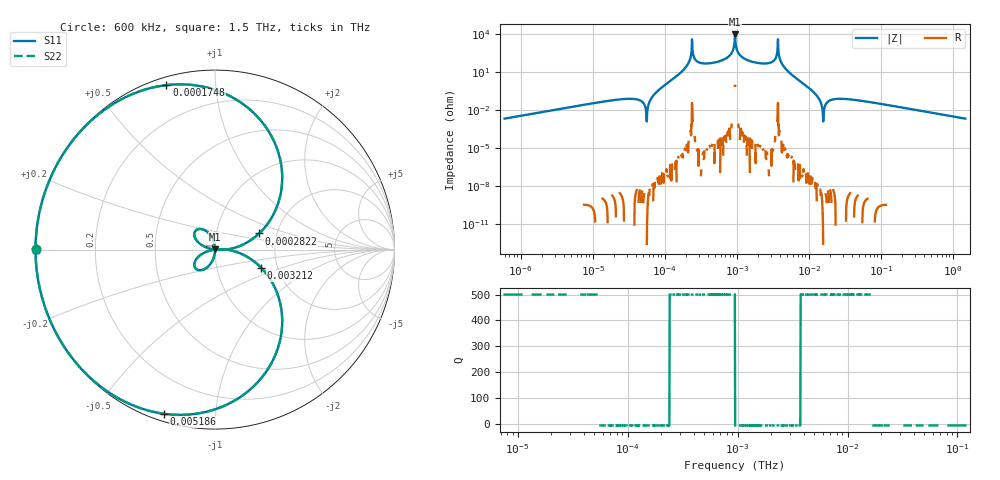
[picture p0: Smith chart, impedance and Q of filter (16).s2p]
! rf-tools.com
! Date: Thu Jan 30 2020 11:42:19 GMT+0000 (格林尼治标准时间)
# Hz S DB R 50.00
!Frequency  S11 dB  S11 Deg  S21 dB  S21 Deg  S12 dB  S12 Deg  S22 dB  S22 Deg
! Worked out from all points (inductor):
!   2000 points, 600 kHz to 1.5 THz, reference 50 ohm
!   read as one part in shunt: L = 573 pH near 645.9 kHz
!   highest |Z| = 9.54 kohm at 945.2 MHz (marker M1)
!   self-resonance near 56.44 MHz
!   S11 on the Smith chart (normalised r, x): 600 kHz: 0.00, +0.00; 174.8 MHz: 0.04, +0.75; 282.2 MHz: 1.62, +0.31; 3.212 GHz: 1.64, -0.36; 5.186 GHz: 0.03, -0.74; 1.5 THz: 0.00, -0.00
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600000  -0.00 179.8  -81.27 89.8  -81.27 89.8  -0.00 179.8
7033018  -0.00 177.7  -60.02 87.7  -60.02 87.7  -0.00 177.7
3.558502e7  -0.00 168.1  -50.10 78.1  -50.10 78.1  -0.00 168.1
5.619563e7  -0.00 161.0  -82.73 71.0  -82.73 71.0  -0.00 161.0
8.18336e7  -0.00 151.7  -37.13 -118.3  -37.13 -118.3  -0.00 151.7
1.748197e8  -0.39 106.4  -10.61 -163.6  -10.61 -163.6  -0.39 106.4
2.822458e8  -11.63 20.1  -0.31 110.1  -0.31 110.1  -11.63 20.1
3.343802e8  -46.79 -6.8  -0.00 83.2  -0.00 83.2  -46.79 -6.8
5.684361e8  -17.22 123.7  -0.08 33.7  -0.08 33.7  -17.22 123.7
7.8038e8  -24.30 102.4  -0.02 12.4  -0.02 12.4  -24.30 102.4
9.45194e8  -58.61 90.2  -0.00 0.2  -0.00 0.2  -58.61 90.2
9.521854e8  -58.61 -90.2  -0.00 -0.2  -0.00 -0.2  -58.61 -90.2
1.153284e9  -24.30 -102.4  -0.02 -12.4  -0.02 -12.4  -24.30 -102.4
1.583292e9  -17.22 -123.7  -0.08 -33.7  -0.08 -33.7  -17.22 -123.7
2.691547e9  -46.79 6.8  -0.00 -83.2  -0.00 -83.2  -46.79 6.8
3.212297e9  -11.16 -21.5  -0.35 -111.5  -0.35 -111.5  -11.16 -21.5
5.186241e9  -0.37 -107.3  -10.85 162.7  -10.85 162.7  -0.37 -107.3
1.107928e10  -0.00 -152.0  -37.45 118.0  -37.45 118.0  -0.00 -152.0
1.601548e10  -0.00 -161.0  -82.73 -71.0  -82.73 -71.0  -0.00 -161.0
2.529154e10  -0.00 -168.1  -50.10 -78.1  -50.10 -78.1  -0.00 -168.1
1.289144e11  -0.00 -177.7  -60.08 -87.7  -60.08 -87.7  -0.00 -177.7
1.5e12  -0.00 -179.8  -81.27 -89.8  -81.27 -89.8  -0.00 -179.8
